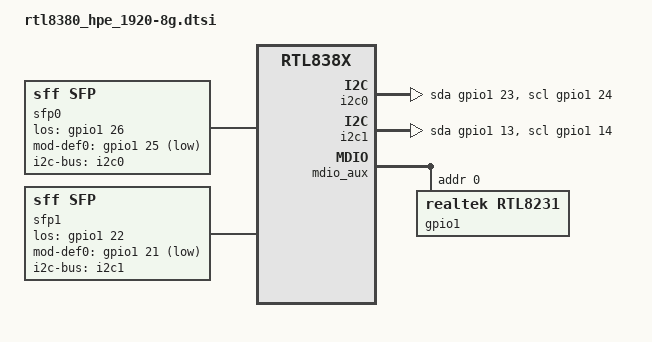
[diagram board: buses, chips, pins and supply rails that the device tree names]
// SPDX-License-Identifier: GPL-2.0-or-later OR MIT

#include "rtl838x.dtsi"
#include "rtl83xx_hpe_1920.dtsi"

/ {
	i2c0: i2c-gpio-0 {
		compatible = "i2c-gpio";
		sda-gpios = <&gpio1 23 (GPIO_ACTIVE_HIGH | GPIO_OPEN_DRAIN)>;
		scl-gpios = <&gpio1 24 (GPIO_ACTIVE_HIGH | GPIO_OPEN_DRAIN)>;
		i2c-gpio,delay-us = <2>;
		#address-cells = <1>;
		#size-cells = <0>;
	};

	sfp0: sfp-0 {
		compatible = "sff,sfp";
		i2c-bus = <&i2c0>;
		los-gpio = <&gpio1 26 GPIO_ACTIVE_HIGH>;
		mod-def0-gpio = <&gpio1 25 GPIO_ACTIVE_LOW>;
		// tx-fault and tx-disable unconnected
	};

	i2c1: i2c-gpio-1 {
		compatible = "i2c-gpio";
		sda-gpios = <&gpio1 13 (GPIO_ACTIVE_HIGH | GPIO_OPEN_DRAIN)>;
		scl-gpios = <&gpio1 14 (GPIO_ACTIVE_HIGH | GPIO_OPEN_DRAIN)>;
		i2c-gpio,delay-us = <2>;
		#address-cells = <1>;
		#size-cells = <0>;
	};

	sfp1: sfp-1 {
		compatible = "sff,sfp";
		i2c-bus = <&i2c1>;
		los-gpio = <&gpio1 22 GPIO_ACTIVE_HIGH>;
		mod-def0-gpio = <&gpio1 21 GPIO_ACTIVE_LOW>;
		// tx-fault and tx-disable unconnected
	};
};

&mdio_aux {
	status = "okay";

	gpio1: expander@0 {
		compatible = "realtek,rtl8231";
		reg = <0>;

		gpio-controller;
		#gpio-cells = <2>;
		gpio-ranges = <&gpio1 0 0 37>;

		led-controller {
			compatible = "realtek,rtl8231-leds";
			status = "disabled";
		};
	};
};

&mdio_bus0 {
	PHY_C22(8, 8)
	PHY_C22(9, 9)
	PHY_C22(10, 10)
	PHY_C22(11, 11)
	PHY_C22(12, 12)
	PHY_C22(13, 13)
	PHY_C22(14, 14)
	PHY_C22(15, 15)
};

&switch0 {
	ethernet-ports {
		#address-cells = <1>;
		#size-cells = <0>;

		SWITCH_PORT(8, 1, internal)
		SWITCH_PORT(9, 2, internal)
		SWITCH_PORT(10, 3, internal)
		SWITCH_PORT(11, 4, internal)
		SWITCH_PORT(12, 5, internal)
		SWITCH_PORT(13, 6, internal)
		SWITCH_PORT(14, 7, internal)
		SWITCH_PORT(15, 8, internal)

		port@24 {
			reg = <24>;
			label = "lan9";
			pcs-handle = <&serdes4 0>;
			phy-mode = "1000base-x";
			managed = "in-band-status";
			sfp = <&sfp0>;

			nvmem-cells = <&macaddr_factory 10>;
			nvmem-cell-names = "mac-address";
		};

		port@26 {
			reg = <26>;
			label = "lan10";
			pcs-handle = <&serdes5 0>;
			phy-mode = "1000base-x";
			managed = "in-band-status";
			sfp = <&sfp1>;

			nvmem-cells = <&macaddr_factory 11>;
			nvmem-cell-names = "mac-address";
		};

		port@28 {
			ethernet = <&ethernet0>;
			reg = <28>;
			phy-mode = "internal";
			fixed-link {
				speed = <1000>;
				full-duplex;
			};
		};
	};
};

&port8 {
	nvmem-cells = <&macaddr_factory 2>;
	nvmem-cell-names = "mac-address";
};

&port9 {
	nvmem-cells = <&macaddr_factory 3>;
	nvmem-cell-names = "mac-address";
};

&port10 {
	nvmem-cells = <&macaddr_factory 4>;
	nvmem-cell-names = "mac-address";
};

&port11 {
	nvmem-cells = <&macaddr_factory 5>;
	nvmem-cell-names = "mac-address";
};

&port12 {
	nvmem-cells = <&macaddr_factory 6>;
	nvmem-cell-names = "mac-address";
};

&port13 {
	nvmem-cells = <&macaddr_factory 7>;
	nvmem-cell-names = "mac-address";
};

&port14 {
	nvmem-cells = <&macaddr_factory 8>;
	nvmem-cell-names = "mac-address";
};

&port15 {
	nvmem-cells = <&macaddr_factory 9>;
	nvmem-cell-names = "mac-address";
};
